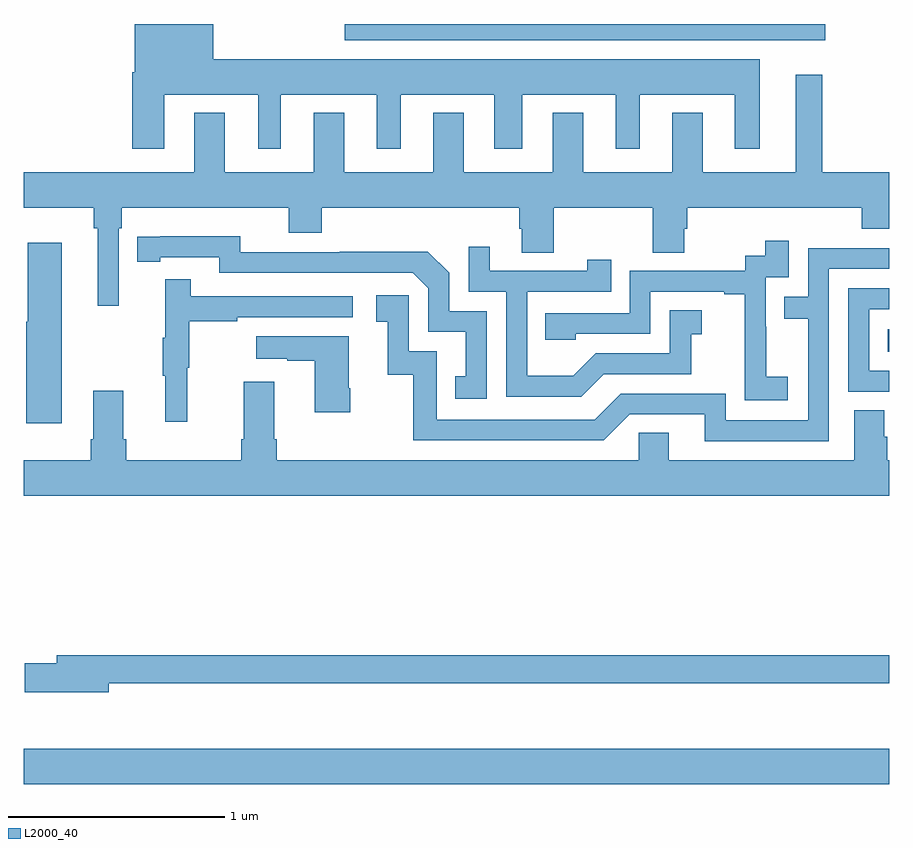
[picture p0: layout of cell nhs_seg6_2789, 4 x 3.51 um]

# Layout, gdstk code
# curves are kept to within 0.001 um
import gdstk
lib = gdstk.Library(unit=1e-6, precision=1e-09)
def R(c, l, rs):  # rectangles x0, y0, x1, y1
    for r in rs: c.add(gdstk.rectangle(r[:2], r[2:], *l))
def P(c, l, *ps):  # polygons
    for p in ps: c.add(gdstk.Polygon(p, *l))
L2000_40 = (2000, 40)

nhs_seg6_2789 = lib.new_cell('nhs_seg6_2789')
R(nhs_seg6_2789, L2000_40, [(275,961.988,279,962.152), (278.992,963.986,279,964.09), (276.483,965.426,278.704,965.5)])
P(nhs_seg6_2789, L2000_40, [(275.65,965.174),(276.083,965.174),(276.083,964.923),(276.187,964.923),(276.187,965.174),(276.632,965.174),(276.632,964.923),(276.742,964.923),(276.742,965.174),(277.175,965.174),(277.175,964.923),(277.303,964.923),(277.303,965.174),(277.736,965.174),(277.736,964.923),(277.846,964.923),(277.846,965.174),(278.285,965.174),(278.285,964.923),(278.401,964.923),(278.401,965.338),(275.875,965.338),(275.875,965.5),(275.513,965.5),(275.513,965.278),(275.501,965.278),(275.501,964.923),(275.65,964.923)],
  [(278.053,964.554),(278.066,964.554),(278.066,964.652),(278.873,964.652),(278.873,964.553),(279,964.553),(279,964.816),(278.689,964.816),(278.689,965.266),(278.567,965.266),(278.567,964.816),(278.137,964.816),(278.137,965.089),(277.997,965.089),(277.997,964.816),(277.585,964.816),(277.585,965.089),(277.445,965.089),(277.445,964.816),(277.033,964.816),(277.033,965.089),(276.893,965.089),(276.893,964.816),(276.481,964.816),(276.481,965.089),(276.341,965.089),(276.341,964.816),(275.929,964.816),(275.929,965.089),(275.789,965.089),(275.789,964.816),(275,964.816),(275,964.652),(275.323,964.652),(275.323,964.556),(275.342,964.556),(275.342,964.197),(275.439,964.197),(275.439,964.556),(275.453,964.556),(275.453,964.652),(276.224,964.652),(276.224,964.535),(276.377,964.535),(276.377,964.652),(277.289,964.652),(277.289,964.554),(277.301,964.554),(277.301,964.444),(277.449,964.444),(277.449,964.652),(277.906,964.652),(277.906,964.444),(278.053,964.444)],
  [(277.14,964.173),(276.966,964.173),(276.966,964.35),(276.868,964.448),(276.46,964.448),(276.46,964.446),(276,964.446),(276,964.519),(275.524,964.518),(275.524,964.402),(275.632,964.402),(275.632,964.422),(275.904,964.422),(275.904,964.35),(276.798,964.35),(276.87,964.278),(276.87,964.077),(277.043,964.077),(277.043,963.873),(276.994,963.873),(276.994,963.768),(277.14,963.768)],
  [(278.53,963.871),(278.432,963.871),(278.432,964.1),(278.43,964.1),(278.43,964.329),(278.535,964.329),(278.535,964.498),(278.427,964.498),(278.427,964.428),(278.334,964.428),(278.334,964.359),(277.8,964.359),(277.8,964.164),(277.411,964.164),(277.411,964.041),(277.551,964.041),(277.551,964.068),(277.896,964.068),(277.896,964.263),(278.237,964.263),(278.237,964.251),(278.333,964.251),(278.333,963.967),(278.332,963.967),(278.332,963.761),(278.53,963.761)],
  [(275.176,964.489),(275.018,964.489),(275.018,964.125),(275.012,964.125),(275.012,963.654),(275.176,963.654)],
  [(277.681,963.882),(278.085,963.882),(278.085,964.067),(278.134,964.067),(278.134,964.177),(277.986,964.177),(277.986,963.978),(277.644,963.978),(277.54,963.874),(277.326,963.874),(277.326,964.263),(277.715,964.263),(277.715,964.411),(277.604,964.411),(277.604,964.359),(277.153,964.359),(277.153,964.471),(277.056,964.471),(277.056,964.263),(277.23,964.263),(277.23,963.777),(277.576,963.777)],
  [(278.721,964.368),(279,964.368),(279,964.464),(278.625,964.464),(278.625,964.239),(278.515,964.239),(278.515,964.138),(278.625,964.138),(278.625,963.669),(278.244,963.669),(278.244,963.792),(277.758,963.792),(277.638,963.672),(276.909,963.672),(276.909,963.987),(276.78,963.987),(276.78,964.246),(276.63,964.246),(276.63,964.125),(276.683,964.125),(276.683,963.879),(276.801,963.879),(276.801,963.576),(277.68,963.576),(277.8,963.696),(278.147,963.696),(278.147,963.573),(278.721,963.573)],
  [(275.756,963.912),(275.764,963.912),(275.764,964.126),(275.987,964.126),(275.987,964.146),(276.52,964.146),(276.52,964.242),(275.771,964.242),(275.771,964.321),(275.654,964.321),(275.654,964.049),(275.643,964.049),(275.643,963.875),(275.654,963.875),(275.654,963.663),(275.756,963.663)],
  [(279,963.897),(278.907,963.897),(278.907,964.182),(279,964.182),(279,964.278),(278.811,964.278),(278.811,963.801),(279,963.801)],
  [(276.51,963.817),(276.502,963.817),(276.502,964.057),(276.075,964.057),(276.075,963.953),(276.218,963.953),(276.218,963.943),(276.344,963.943),(276.344,963.705),(276.51,963.705)],
  [(279,963.484),(278.99,963.484),(278.99,963.593),(278.976,963.593),(278.976,963.716),(278.837,963.716),(278.837,963.484),(277.981,963.484),(277.981,963.611),(277.842,963.611),(277.842,963.484),(276.17,963.484),(276.17,963.58),(276.157,963.58),(276.157,963.847),(276.017,963.847),(276.017,963.58),(276.005,963.58),(276.005,963.484),(275.474,963.484),(275.474,963.58),(275.461,963.58),(275.461,963.805),(275.321,963.805),(275.321,963.58),(275.309,963.58),(275.309,963.484),(275,963.484),(275,963.32),(279,963.32)],
  [(275.392,962.454),(279,962.454),(279,962.582),(275.153,962.582),(275.153,962.546),(275.004,962.546),(275.004,962.411),(275.392,962.411)])

lib.write_gds('nhs_seg6_2789.gds')
